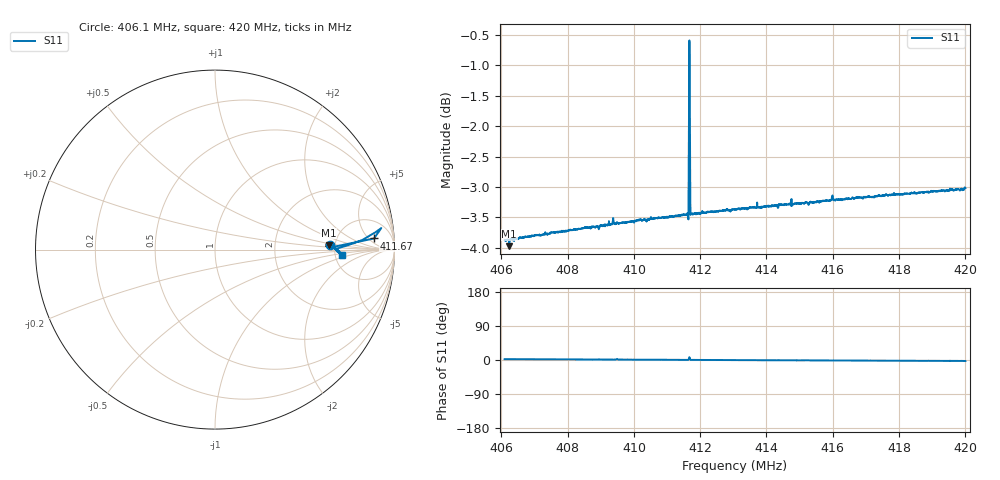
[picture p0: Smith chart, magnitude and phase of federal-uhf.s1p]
! Calibrated averaged scanner-service zoom
# Hz S RI R 50
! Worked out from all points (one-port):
!   2001 points, 406.1 MHz to 420 MHz, reference 50 ohm
!   lowest |S11| = -4.0 dB at 406.24 MHz (marker M1), VSWR 4.45, Z = 221 + j18.6 ohm
!   |S11| at or under -10 dB: nowhere
!   S11 on the Smith chart (normalised r, x): 406.1 MHz: 4.52, +0.39; 411.67 MHz: 13, +7; 420 MHz: 5.71, -0.74
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4.061e8  0.6398 0.0252
4.06239e8  0.6324 0.0253
4.078375e8  0.6504 0.0188
4.088939e8  0.657 0.0153
4.093874e8  0.6632 0.0102
4.09443e8  0.6597 0.0119
4.095333e8  0.6601 0.0127
4.09575e8  0.6612 0.0121
4.113125e8  0.67 0.00393
4.115766e8  0.6714 0.00437
4.115836e8  0.6713 0.00452
4.115905e8  0.6713 0.00452
4.116114e8  0.6736 0.00414
4.116183e8  0.6726 0.00385
4.116322e8  0.6706 0.00585
4.11667e8  0.8857 0.0619
4.117226e8  0.672 0.00289
4.117295e8  0.6725 0.00322
4.117364e8  0.6731 0.00291
4.117573e8  0.6727 0.00279
4.117642e8  0.6722 0.00269
4.117782e8  0.6724 0.00262
4.1305e8  0.6785 -0.00348
4.147875e8  0.6847 -0.01
4.15976e8  0.6945 -0.0165
4.16525e8  0.6918 -0.0164
4.182625e8  0.6986 -0.0247
4.2e8  0.7057 -0.0323
